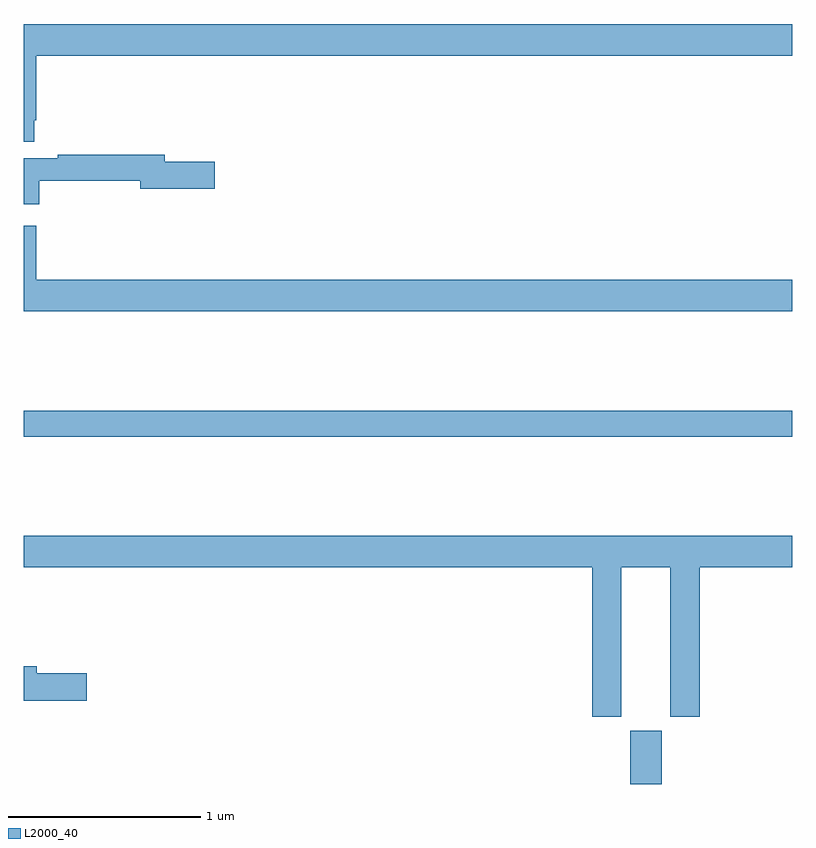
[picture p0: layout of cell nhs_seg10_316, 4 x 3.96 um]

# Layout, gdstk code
import gdstk
lib = gdstk.Library(unit=1e-6, precision=1e-09)
def R(c, l, rs):  # rectangles x0, y0, x1, y1
    for r in rs: c.add(gdstk.rectangle(r[:2], r[2:], *l))
def P(c, l, *ps):  # polygons
    for p in ps: c.add(gdstk.Polygon(p, *l))
L2000_40 = (2000, 40)

nhs_seg10_316 = lib.new_cell('nhs_seg10_316')
R(nhs_seg10_316, L2000_40, [(128.156,1320.5,128.32,1320.777), (125,1322.308,129,1322.444)])
P(nhs_seg10_316, L2000_40, [(125.054,1323.955),(125.065,1323.955),(125.065,1324.292),(129,1324.292),(129,1324.456),(125,1324.456),(125,1323.843),(125.054,1323.843)],
  [(125.08,1323.64),(125.606,1323.64),(125.606,1323.598),(125.995,1323.598),(125.995,1323.74),(125.734,1323.74),(125.734,1323.776),(125.176,1323.776),(125.176,1323.756),(125,1323.756),(125,1323.518),(125.08,1323.518)],
  [(129,1323.124),(125.065,1323.124),(125.065,1323.406),(125,1323.406),(125,1322.96),(129,1322.96)],
  [(128.11,1321.628),(128.366,1321.628),(128.366,1320.849),(128.519,1320.849),(128.519,1321.628),(129,1321.628),(129,1321.792),(125,1321.792),(125,1321.628),(127.958,1321.628),(127.958,1320.849),(128.11,1320.849)],
  [(125.329,1321.076),(125.068,1321.076),(125.068,1321.112),(125,1321.112),(125,1320.934),(125.329,1320.934)])

lib.write_gds('nhs_seg10_316.gds')
